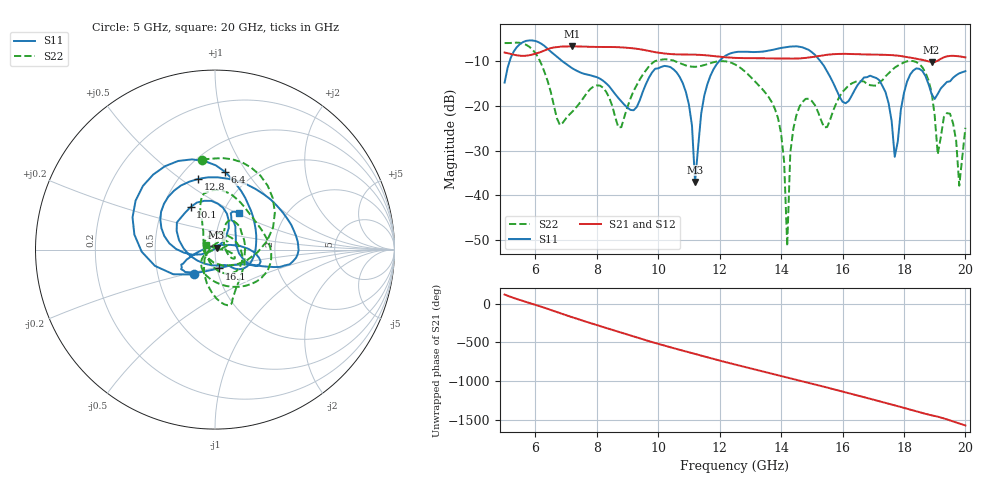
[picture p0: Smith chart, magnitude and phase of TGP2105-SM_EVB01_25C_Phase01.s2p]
! Date: Wednesday, June 05, 2013  1:49 PM
! Filename: C:\Data\Mike_Arnold\TGP2105-SM\Over_Temp\TGP2105-SM_EVB01_25C_Phase1.s2p
! Comments:
!^VDC(V):5.000
!^VDC(mA):0.020
!%Freq(GHz),S11(dB),S11(ang),S21(dB),S21(ang),S12(dB),S12(ang),S22(dB),S22(ang)
# GHz  S  DB  R  50
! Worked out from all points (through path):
!   151 points, 5 GHz to 20 GHz, reference 50 ohm
!   highest |S21| = -6.65 dB at 7.2 GHz (marker M1); lowest = -10.2 dB at 18.9 GHz (marker M2)
!   lowest |S11| = -37.1 dB at 11.2 GHz (marker M3), VSWR 1.03, Z = 50.9 + j1.09 ohm
!   |S11| at or under -10 dB: start of sweep to 5.163 GHz; 6.885 GHz to 11.98 GHz (5.098 GHz wide, 54 % of centre); 15.28 GHz to end of sweep
!   |S22| runs from -51.5 to -5.8 dB; largest |S21 - S12| = 0.0021
!   S11 on the Smith chart (normalised r, x): 5 GHz: 0.76, -0.22; 6.4 GHz: 0.75, +0.80; 10.1 GHz: 0.69, +0.35; 12.8 GHz: 0.62, +0.58; 16.1 GHz: 1.02, -0.22; 20 GHz: 1.19, +0.52
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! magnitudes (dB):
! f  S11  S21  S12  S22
! 5 GHz  -14.8  -8.0  -8.1  -5.9
! 6.4 GHz  -7.2  -7.3  -7.3  -14.4
! 7.2 GHz  -11.6  -6.6  -6.7  -21.3
! 7.5 GHz  -12.6  -6.7  -6.7  -18.9
! 10 GHz  -11.6  -8.1  -8.1  -9.8
! 10.1 GHz  -11.3  -8.2  -8.2  -9.6
! 10.9 GHz  -16.9  -8.5  -8.5  -10.9
! 11.2 GHz  -37.1  -8.5  -8.5  -11.2
! 11.6 GHz  -15.1  -8.7  -8.7  -10.6
! 12.5 GHz  -8.0  -9.2  -9.2  -10.7
! 12.8 GHz  -7.9  -9.3  -9.3  -12.1
! 13.9 GHz  -7.2  -9.4  -9.4  -22.7
! 14.2 GHz  -6.8  -9.4  -9.4  -51.5
! 14.4 GHz  -6.7  -9.4  -9.4  -25.1
! 15 GHz  -8.0  -9.1  -9.1  -18.9
! 16.1 GHz  -19.4  -8.3  -8.4  -16.2
! 17.5 GHz  -19.4  -8.6  -8.6  -12.7
! 17.7 GHz  -31.4  -8.7  -8.7  -11.4
! 18.2 GHz  -13.0  -9.2  -9.2  -9.9
! 18.9 GHz  -17.3  -10.2  -10.2  -17.0
! 19.8 GHz  -12.7  -8.9  -8.9  -37.9
! 20 GHz  -12.2  -9.1  -9.2  -24.9
